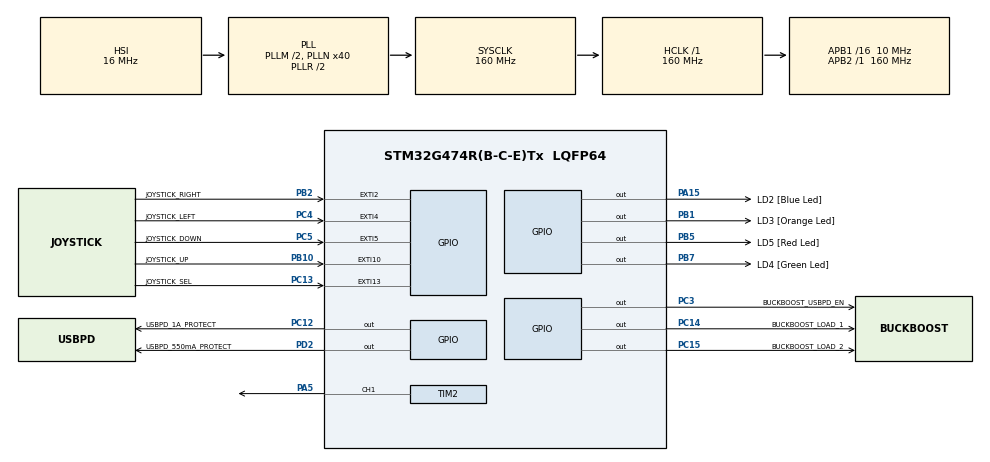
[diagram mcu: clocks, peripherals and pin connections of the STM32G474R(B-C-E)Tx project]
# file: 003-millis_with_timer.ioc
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Mcu.Family=STM32G4
Mcu.Name=STM32G474R(B-C-E)Tx
Mcu.Package=LQFP64
NVIC.EXTI15_10_IRQn=true\:0\:0\:false\:false\:true\:true\:true
NVIC.EXTI2_IRQn=true\:0\:0\:false\:false\:true\:true\:true
NVIC.EXTI4_IRQn=true\:0\:0\:false\:false\:true\:true\:true
NVIC.EXTI9_5_IRQn=true\:0\:0\:false\:false\:true\:true\:true
NVIC.PriorityGroup=NVIC_PRIORITYGROUP_4
NVIC.TIM2_IRQn=true\:0\:0\:false\:false\:true\:true\:true
PA0.GPIO_Label=BUCK_GREEN_SENSE
PA0.Signal=COMP3_INP
PA1.GPIO_Label=BUCKBOOST_VIN
PA1.Signal=ADC1_IN2
PA10.Signal=UCPD1_DBCC2
PA11.Signal=USB_DM
PA12.Signal=USB_DP
PA13.Mode=Serial_Wire
PA13.Signal=SYS_JTMS-SWDIO
PA14.Mode=Serial_Wire
PA14.Signal=SYS_JTCK-SWCLK
PA15.GPIO_Label=LD2 [Blue Led]
PA15.Signal=GPIO_Output
PA2.GPIO_Label=BUCKBOOST_I_IN_AVG
PA2.Signal=ADC1_IN3
PA3.GPIO_Label=BUCKBOOST_VOUT
PA3.Signal=ADC1_IN4
PA5.Signal=S_TIM2_CH1
PA7.GPIO_Label=BUCK_RED_SENSE
PA7.Signal=COMP2_INP
PA8.GPIO_Label=BUCK_BLUE_DRIVE
PA8.Signal=HRTIM1_CHA1
PA9.Signal=UCPD1_DBCC1
PB0.GPIO_Label=BUCK_BLUE_SENSE
PB0.Signal=COMP4_INP
PB1.GPIO_Label=LD3 [Orange Led]
PB1.Signal=GPIO_Output
PB10.GPIO_Label=JOYSTICK_UP
PB10.GPIO_PuPd=GPIO_PULLUP
PB10.Signal=GPXTI10
PB11.GPIO_Label=BUCKBOOST_I_IN_SENSE
PB11.Signal=COMP6_INP
PB12.GPIO_Label=BUCKBOOST_P1_DRIVE
PB12.Signal=HRTIM1_CHC1
PB13.GPIO_Label=BUCKBOOST_N1_DRIVE
PB13.Signal=HRTIM1_CHC2
PB14.GPIO_Label=BUCKBOOST_N2_DRIVE
PB14.Signal=HRTIM1_CHD1
PB15.GPIO_Label=BUCKBOOST_P2_DRIVE
PB15.Signal=HRTIM1_CHD2
PB2.GPIO_Label=JOYSTICK_RIGHT
PB2.GPIO_PuPd=GPIO_PULLUP
PB2.Signal=GPXTI2
PB3.Signal=SYS_JTDO-SWO
PB4.Signal=UCPD1_CC2
PB5.GPIO_Label=LD5 [Red Led]
PB5.Signal=GPIO_Output
PB6.Signal=UCPD1_CC1
PB7.GPIO_Label=LD4 [Green Led]
PB7.Signal=GPIO_Output
PC10.GPIO_Label=USART3_TX[STLINK_TX]
PC10.GPIO_Speed=GPIO_SPEED_FREQ_MEDIUM
PC10.Signal=USART3_TX
PC11.GPIO_Label=USART3_RX[STLINK_RX]
PC11.GPIO_Speed=GPIO_SPEED_FREQ_MEDIUM
PC11.Signal=USART3_RX
PC12.GPIO_Label=USBPD_1A_PROTECT
PC12.Signal=GPIO_Output
PC13.GPIO_Label=JOYSTICK_SEL
PC13.GPIO_PuPd=GPIO_PULLUP
PC13.Signal=GPXTI13
PC14-OSC32_IN.GPIO_Label=BUCKBOOST_LOAD_1
PC14-OSC32_IN.Signal=GPIO_Output
PC15-OSC32_OUT.GPIO_Label=BUCKBOOST_LOAD_2
PC15-OSC32_OUT.Signal=GPIO_Output
PC2.GPIO_Label=USBPD_VIN
PC2.Signal=ADC1_IN8
PC3.GPIO_Label=BUCKBOOST_USBPD_EN
PC3.Signal=GPIO_Output
PC4.GPIO_Label=JOYSTICK_LEFT
PC4.GPIO_PuPd=GPIO_PULLUP
PC4.Signal=GPXTI4
PC5.GPIO_Label=JOYSTICK_DOWN
PC5.GPIO_PuPd=GPIO_PULLUP
PC5.Signal=GPXTI5
PC6.GPIO_Label=BUCK_RED_DRIVE
PC6.Signal=HRTIM1_CHF1
PC7.GPIO_Label=RC_TP4
PC7.Signal=HRTIM1_CHF2
PC8.GPIO_Label=BUCK_GREEN_DRIVE
PC8.Signal=HRTIM1_CHE1
PD2.GPIO_Label=USBPD_550mA_PROTECT
PD2.Signal=GPIO_Output
PF0-OSC_IN.Mode=HSE-External-Clock-Source
PF0-OSC_IN.Signal=RCC_OSC_IN
ProjectManager.HeapSize=0x200
ProjectManager.StackSize=0x400
ProjectManager.TargetToolchain=STM32CubeIDE
RCC.ADC12Freq_Value=160000000
RCC.ADC345Freq_Value=160000000
RCC.AHBFreq_Value=160000000
RCC.APB1CLKDivider=RCC_HCLK_DIV16
RCC.APB1Freq_Value=10000000
RCC.APB1TimFreq_Value=20000000
RCC.APB2Freq_Value=160000000
RCC.APB2TimFreq_Value=160000000
RCC.CK48CLockSelection=RCC_USBCLKSOURCE_HSI48
RCC.CortexFreq_Value=160000000
RCC.EXTERNAL_CLOCK_VALUE=12288000
RCC.HCLKFreq_Value=160000000
RCC.HSE_VALUE=8000000
RCC.HSI48_VALUE=48000000
RCC.HSI_VALUE=16000000
RCC.LSE_VALUE=32768
RCC.PLLM=RCC_PLLM_DIV2
RCC.PLLN=40
RCC.PLLP=RCC_PLLP_DIV8
RCC.PLLQ=RCC_PLLQ_DIV8
RCC.SYSCLKFreq_VALUE=160000000
RCC.SYSCLKSource=RCC_SYSCLKSOURCE_PLLCLK
RCC.USBFreq_Value=48000000
RCC.VCOOutputFreq_Value=320000000
SH.S_TIM2_CH1.0=TIM2_CH1,Output Compare1 CH1
TIM2.AutoReloadPreload=TIM_AUTORELOAD_PRELOAD_DISABLE
TIM2.Channel-Output\ Compare1\ CH1=TIM_CHANNEL_1
TIM2.PeriodNoDither=4999
TIM2.Prescaler=1
VP_SYS_VS_DBSignals.Mode=DisableDeadBatterySignals
VP_TIM2_VS_ClockSourceINT.Mode=Internal
board=B-G474E-DPOW1

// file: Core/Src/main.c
/* USER CODE BEGIN Header */
/**
 ******************************************************************************
 * @file           : main.c
 * @brief          : Main program body
 ******************************************************************************
 * @attention
 *
 * <h2><center>&copy; Copyright (c) 2020 STMicroelectronics.
 * All rights reserved.</center></h2>
 *
 * This software component is licensed by ST under BSD 3-Clause license,
 * the "License"; You may not use this file except in compliance with the
 * License. You may obtain a copy of the License at:
 *                        opensource.org/licenses/BSD-3-Clause
 *
 ******************************************************************************
 */
/* USER CODE END Header */

#include "main.h"

/* USER CODE BEGIN PD */
typedef enum {
	LD1, LD2, LD3, LD4
} led_ctrl;

/* USER CODE END PD */

TIM_HandleTypeDef htim2;

/* USER CODE BEGIN PV */
volatile uint32_t ms_ticks = 0;

/* USER CODE END PV */

void SystemClock_Config(void);
static void MX_GPIO_Init(void);
static void MX_TIM2_Init(void);
/* USER CODE BEGIN PFP */
uint32_t millis(void);
/* USER CODE END PFP */

int main(void)
{

  /* MCU Configuration--------------------------------------------------------*/

  /* Reset of all peripherals, Initializes the Flash interface and the Systick. */
  HAL_Init();

  /* Configure the system clock */
  SystemClock_Config();

  /* Initialize all configured peripherals */
  MX_GPIO_Init();
  MX_TIM2_Init();
  /* USER CODE BEGIN 2 */
	HAL_TIM_Base_Start_IT(&htim2);

	led_ctrl next_led = LD1;
	uint32_t tim = 0;

  /* USER CODE END 2 */

  /* Infinite loop */
  /* USER CODE BEGIN WHILE */
	while (1) {
		if (millis() - tim >= 1000) {
			tim = millis();

			switch (next_led) { // Sequência física: 2-4-5-3
			case LD1:
				HAL_GPIO_WritePin(LD2_GPIO_Port, LD2_Pin, ENABLE);
				HAL_GPIO_WritePin(LD3_GPIO_Port, LD3_Pin, DISABLE);
				next_led = LD2;
				break;
			case LD2:
				HAL_GPIO_WritePin(LD4_GPIO_Port, LD4_Pin, ENABLE);
				HAL_GPIO_WritePin(LD2_GPIO_Port, LD2_Pin, DISABLE);
				next_led = LD3;
				break;
			case LD3:
				HAL_GPIO_WritePin(LD5_GPIO_Port, LD5_Pin, ENABLE);
				HAL_GPIO_WritePin(LD4_GPIO_Port, LD4_Pin, DISABLE);
				next_led = LD4;
				break;
			case LD4:
				HAL_GPIO_WritePin(LD3_GPIO_Port, LD3_Pin, ENABLE);
				HAL_GPIO_WritePin(LD5_GPIO_Port, LD5_Pin, DISABLE);
				next_led = LD1;
				break;
			default:
				break;
			}
		}
    /* USER CODE END WHILE */

	}
}

void SystemClock_Config(void)
{
  RCC_OscInitTypeDef RCC_OscInitStruct = {0};
  RCC_ClkInitTypeDef RCC_ClkInitStruct = {0};

  /** Configure the main internal regulator output voltage
  */
  HAL_PWREx_ControlVoltageScaling(PWR_REGULATOR_VOLTAGE_SCALE1_BOOST);
  /** Initializes the CPU, AHB and APB busses clocks
  */
  RCC_OscInitStruct.OscillatorType = RCC_OSCILLATORTYPE_HSI;
  RCC_OscInitStruct.HSIState = RCC_HSI_ON;
  RCC_OscInitStruct.HSICalibrationValue = RCC_HSICALIBRATION_DEFAULT;
  RCC_OscInitStruct.PLL.PLLState = RCC_PLL_ON;
  RCC_OscInitStruct.PLL.PLLSource = RCC_PLLSOURCE_HSI;
  RCC_OscInitStruct.PLL.PLLM = RCC_PLLM_DIV2;
  RCC_OscInitStruct.PLL.PLLN = 40;
  RCC_OscInitStruct.PLL.PLLP = RCC_PLLP_DIV8;
  RCC_OscInitStruct.PLL.PLLQ = RCC_PLLQ_DIV8;
  RCC_OscInitStruct.PLL.PLLR = RCC_PLLR_DIV2;
  if (HAL_RCC_OscConfig(&RCC_OscInitStruct) != HAL_OK)
  {
    Error_Handler();
  }
  /** Initializes the CPU, AHB and APB busses clocks
  */
  RCC_ClkInitStruct.ClockType = RCC_CLOCKTYPE_HCLK|RCC_CLOCKTYPE_SYSCLK
                              |RCC_CLOCKTYPE_PCLK1|RCC_CLOCKTYPE_PCLK2;
  RCC_ClkInitStruct.SYSCLKSource = RCC_SYSCLKSOURCE_PLLCLK;
  RCC_ClkInitStruct.AHBCLKDivider = RCC_SYSCLK_DIV1;
  RCC_ClkInitStruct.APB1CLKDivider = RCC_HCLK_DIV16;
  RCC_ClkInitStruct.APB2CLKDivider = RCC_HCLK_DIV1;

  if (HAL_RCC_ClockConfig(&RCC_ClkInitStruct, FLASH_LATENCY_7) != HAL_OK)
  {
    Error_Handler();
  }
}

static void MX_TIM2_Init(void)
{

  TIM_ClockConfigTypeDef sClockSourceConfig = {0};
  TIM_MasterConfigTypeDef sMasterConfig = {0};
  TIM_OC_InitTypeDef sConfigOC = {0};

  htim2.Instance = TIM2;
  htim2.Init.Prescaler = 1;
  htim2.Init.CounterMode = TIM_COUNTERMODE_UP;
  htim2.Init.Period = 4999;
  htim2.Init.ClockDivision = TIM_CLOCKDIVISION_DIV1;
  htim2.Init.AutoReloadPreload = TIM_AUTORELOAD_PRELOAD_DISABLE;
  if (HAL_TIM_Base_Init(&htim2) != HAL_OK)
  {
    Error_Handler();
  }
  sClockSourceConfig.ClockSource = TIM_CLOCKSOURCE_INTERNAL;
  if (HAL_TIM_ConfigClockSource(&htim2, &sClockSourceConfig) != HAL_OK)
  {
    Error_Handler();
  }
  if (HAL_TIM_OC_Init(&htim2) != HAL_OK)
  {
    Error_Handler();
  }
  sMasterConfig.MasterOutputTrigger = TIM_TRGO_RESET;
  sMasterConfig.MasterSlaveMode = TIM_MASTERSLAVEMODE_DISABLE;
  if (HAL_TIMEx_MasterConfigSynchronization(&htim2, &sMasterConfig) != HAL_OK)
  {
    Error_Handler();
  }
  sConfigOC.OCMode = TIM_OCMODE_TIMING;
  sConfigOC.Pulse = 0;
  sConfigOC.OCPolarity = TIM_OCPOLARITY_HIGH;
  sConfigOC.OCFastMode = TIM_OCFAST_DISABLE;
  if (HAL_TIM_OC_ConfigChannel(&htim2, &sConfigOC, TIM_CHANNEL_1) != HAL_OK)
  {
    Error_Handler();
  }
  HAL_TIM_MspPostInit(&htim2);

}

static void MX_GPIO_Init(void)
{
  GPIO_InitTypeDef GPIO_InitStruct = {0};

  /* GPIO Ports Clock Enable */
  __HAL_RCC_GPIOC_CLK_ENABLE();
  __HAL_RCC_GPIOF_CLK_ENABLE();
  __HAL_RCC_GPIOA_CLK_ENABLE();
  __HAL_RCC_GPIOB_CLK_ENABLE();
  __HAL_RCC_GPIOD_CLK_ENABLE();

  /*Configure GPIO pin Output Level */
  HAL_GPIO_WritePin(GPIOC, BUCKBOOST_LOAD_1_Pin|BUCKBOOST_LOAD_2_Pin|BUCKBOOST_USBPD_EN_Pin|USBPD_1A_PROTECT_Pin, GPIO_PIN_RESET);

  /*Configure GPIO pin Output Level */
  HAL_GPIO_WritePin(GPIOB, LD3_Pin|LD5_Pin|LD4_Pin, GPIO_PIN_RESET);

  /*Configure GPIO pin Output Level */
  HAL_GPIO_WritePin(LD2_GPIO_Port, LD2_Pin, GPIO_PIN_RESET);

  /*Configure GPIO pin Output Level */
  HAL_GPIO_WritePin(USBPD_550mA_PROTECT_GPIO_Port, USBPD_550mA_PROTECT_Pin, GPIO_PIN_RESET);

  /*Configure GPIO pins : JOYSTICK_SEL_Pin JOYSTICK_LEFT_Pin JOYSTICK_DOWN_Pin */
  GPIO_InitStruct.Pin = JOYSTICK_SEL_Pin|JOYSTICK_LEFT_Pin|JOYSTICK_DOWN_Pin;
  GPIO_InitStruct.Mode = GPIO_MODE_IT_RISING;
  GPIO_InitStruct.Pull = GPIO_PULLUP;
  HAL_GPIO_Init(GPIOC, &GPIO_InitStruct);

  /*Configure GPIO pins : BUCKBOOST_LOAD_1_Pin BUCKBOOST_LOAD_2_Pin BUCKBOOST_USBPD_EN_Pin USBPD_1A_PROTECT_Pin */
  GPIO_InitStruct.Pin = BUCKBOOST_LOAD_1_Pin|BUCKBOOST_LOAD_2_Pin|BUCKBOOST_USBPD_EN_Pin|USBPD_1A_PROTECT_Pin;
  GPIO_InitStruct.Mode = GPIO_MODE_OUTPUT_PP;
  GPIO_InitStruct.Pull = GPIO_NOPULL;
  GPIO_InitStruct.Speed = GPIO_SPEED_FREQ_LOW;
  HAL_GPIO_Init(GPIOC, &GPIO_InitStruct);

  /*Configure GPIO pin : USBPD_VIN_Pin */
  GPIO_InitStruct.Pin = USBPD_VIN_Pin;
  GPIO_InitStruct.Mode = GPIO_MODE_ANALOG;
  GPIO_InitStruct.Pull = GPIO_NOPULL;
  HAL_GPIO_Init(USBPD_VIN_GPIO_Port, &GPIO_InitStruct);

  /*Configure GPIO pins : BUCK_GREEN_SENSE_Pin BUCKBOOST_VIN_Pin BUCKBOOST_I_IN_AVG_Pin BUCKBOOST_VOUT_Pin
                           BUCK_RED_SENSE_Pin */
  GPIO_InitStruct.Pin = BUCK_GREEN_SENSE_Pin|BUCKBOOST_VIN_Pin|BUCKBOOST_I_IN_AVG_Pin|BUCKBOOST_VOUT_Pin
                          |BUCK_RED_SENSE_Pin;
  GPIO_InitStruct.Mode = GPIO_MODE_ANALOG;
  GPIO_InitStruct.Pull = GPIO_NOPULL;
  HAL_GPIO_Init(GPIOA, &GPIO_InitStruct);

  /*Configure GPIO pins : BUCK_BLUE_SENSE_Pin BUCKBOOST_I_IN_SENSE_Pin */
  GPIO_InitStruct.Pin = BUCK_BLUE_SENSE_Pin|BUCKBOOST_I_IN_SENSE_Pin;
  GPIO_InitStruct.Mode = GPIO_MODE_ANALOG;
  GPIO_InitStruct.Pull = GPIO_NOPULL;
  HAL_GPIO_Init(GPIOB, &GPIO_InitStruct);

  /*Configure GPIO pins : LD3_Pin LD5_Pin LD4_Pin */
  GPIO_InitStruct.Pin = LD3_Pin|LD5_Pin|LD4_Pin;
  GPIO_InitStruct.Mode = GPIO_MODE_OUTPUT_PP;
  GPIO_InitStruct.Pull = GPIO_NOPULL;
  GPIO_InitStruct.Speed = GPIO_SPEED_FREQ_LOW;
  HAL_GPIO_Init(GPIOB, &GPIO_InitStruct);

  /*Configure GPIO pins : JOYSTICK_RIGHT_Pin JOYSTICK_UP_Pin */
  GPIO_InitStruct.Pin = JOYSTICK_RIGHT_Pin|JOYSTICK_UP_Pin;
  GPIO_InitStruct.Mode = GPIO_MODE_IT_RISING;
  GPIO_InitStruct.Pull = GPIO_PULLUP;
  HAL_GPIO_Init(GPIOB, &GPIO_InitStruct);

  /*Configure GPIO pins : BUCKBOOST_P1_DRIVE_Pin BUCKBOOST_N1_DRIVE_Pin BUCKBOOST_N2_DRIVE_Pin BUCKBOOST_P2_DRIVE_Pin */
  GPIO_InitStruct.Pin = BUCKBOOST_P1_DRIVE_Pin|BUCKBOOST_N1_DRIVE_Pin|BUCKBOOST_N2_DRIVE_Pin|BUCKBOOST_P2_DRIVE_Pin;
  GPIO_InitStruct.Mode = GPIO_MODE_AF_PP;
  GPIO_InitStruct.Pull = GPIO_NOPULL;
  GPIO_InitStruct.Speed = GPIO_SPEED_FREQ_VERY_HIGH;
  GPIO_InitStruct.Alternate = GPIO_AF13_HRTIM1;
  HAL_GPIO_Init(GPIOB, &GPIO_InitStruct);

  /*Configure GPIO pins : BUCK_RED_DRIVE_Pin RC_TP4_Pin */
  GPIO_InitStruct.Pin = BUCK_RED_DRIVE_Pin|RC_TP4_Pin;
  GPIO_InitStruct.Mode = GPIO_MODE_AF_PP;
  GPIO_InitStruct.Pull = GPIO_NOPULL;
  GPIO_InitStruct.Speed = GPIO_SPEED_FREQ_VERY_HIGH;
  GPIO_InitStruct.Alternate = GPIO_AF13_HRTIM1;
  HAL_GPIO_Init(GPIOC, &GPIO_InitStruct);

  /*Configure GPIO pin : BUCK_GREEN_DRIVE_Pin */
  GPIO_InitStruct.Pin = BUCK_GREEN_DRIVE_Pin;
  GPIO_InitStruct.Mode = GPIO_MODE_AF_PP;
  GPIO_InitStruct.Pull = GPIO_NOPULL;
  GPIO_InitStruct.Speed = GPIO_SPEED_FREQ_VERY_HIGH;
  GPIO_InitStruct.Alternate = GPIO_AF3_HRTIM1;
  HAL_GPIO_Init(BUCK_GREEN_DRIVE_GPIO_Port, &GPIO_InitStruct);

  /*Configure GPIO pin : BUCK_BLUE_DRIVE_Pin */
  GPIO_InitStruct.Pin = BUCK_BLUE_DRIVE_Pin;
  GPIO_InitStruct.Mode = GPIO_MODE_AF_PP;
  GPIO_InitStruct.Pull = GPIO_NOPULL;
  GPIO_InitStruct.Speed = GPIO_SPEED_FREQ_VERY_HIGH;
  GPIO_InitStruct.Alternate = GPIO_AF13_HRTIM1;
  HAL_GPIO_Init(BUCK_BLUE_DRIVE_GPIO_Port, &GPIO_InitStruct);

  /*Configure GPIO pin : LD2_Pin */
  GPIO_InitStruct.Pin = LD2_Pin;
  GPIO_InitStruct.Mode = GPIO_MODE_OUTPUT_PP;
  GPIO_InitStruct.Pull = GPIO_NOPULL;
  GPIO_InitStruct.Speed = GPIO_SPEED_FREQ_LOW;
  HAL_GPIO_Init(LD2_GPIO_Port, &GPIO_InitStruct);

  /*Configure GPIO pins : USART3_TX_Pin USART3_RX_Pin */
  GPIO_InitStruct.Pin = USART3_TX_Pin|USART3_RX_Pin;
  GPIO_InitStruct.Mode = GPIO_MODE_AF_PP;
  GPIO_InitStruct.Pull = GPIO_NOPULL;
  GPIO_InitStruct.Speed = GPIO_SPEED_FREQ_MEDIUM;
  GPIO_InitStruct.Alternate = GPIO_AF7_USART3;
  HAL_GPIO_Init(GPIOC, &GPIO_InitStruct);

  /*Configure GPIO pin : USBPD_550mA_PROTECT_Pin */
  GPIO_InitStruct.Pin = USBPD_550mA_PROTECT_Pin;
  GPIO_InitStruct.Mode = GPIO_MODE_OUTPUT_PP;
  GPIO_InitStruct.Pull = GPIO_NOPULL;
  GPIO_InitStruct.Speed = GPIO_SPEED_FREQ_LOW;
  HAL_GPIO_Init(USBPD_550mA_PROTECT_GPIO_Port, &GPIO_InitStruct);

  /* EXTI interrupt init*/
  HAL_NVIC_SetPriority(EXTI2_IRQn, 0, 0);
  HAL_NVIC_EnableIRQ(EXTI2_IRQn);

  HAL_NVIC_SetPriority(EXTI4_IRQn, 0, 0);
  HAL_NVIC_EnableIRQ(EXTI4_IRQn);

  HAL_NVIC_SetPriority(EXTI9_5_IRQn, 0, 0);
  HAL_NVIC_EnableIRQ(EXTI9_5_IRQn);

  HAL_NVIC_SetPriority(EXTI15_10_IRQn, 0, 0);
  HAL_NVIC_EnableIRQ(EXTI15_10_IRQn);

}

/* USER CODE BEGIN 4 */
void HAL_TIM_PeriodElapsedCallback(TIM_HandleTypeDef *htim) {
	ms_ticks++;
}

uint32_t millis(void){
	return ms_ticks;
}

/* USER CODE END 4 */

void Error_Handler(void)
{
}

/************************ (C) COPYRIGHT STMicroelectronics *****END OF FILE****/
